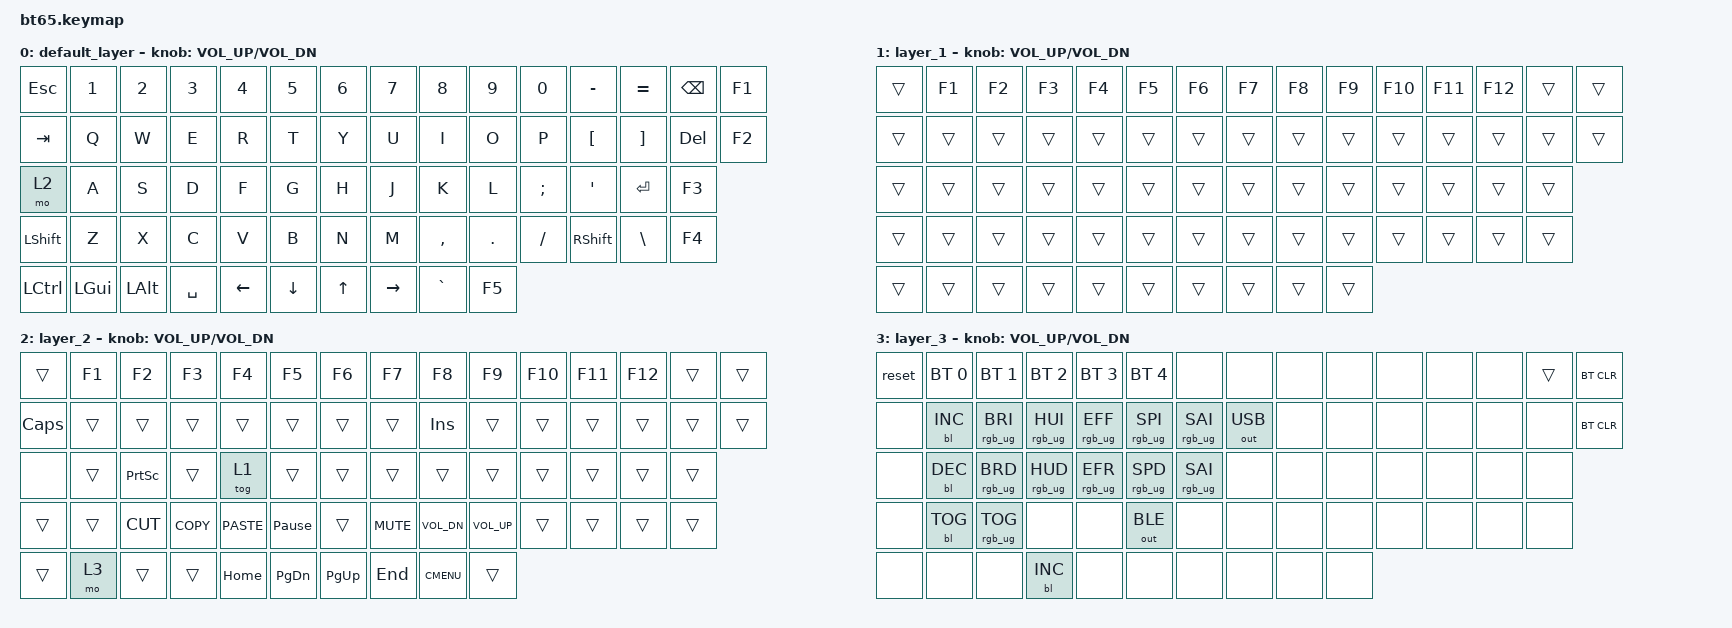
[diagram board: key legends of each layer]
#include <behaviors.dtsi>
#include <dt-bindings/zmk/keys.h>
#include <dt-bindings/zmk/bt.h>
#include <dt-bindings/zmk/rgb.h>
#include <dt-bindings/zmk/backlight.h>
#include <dt-bindings/zmk/ext_power.h>
#include <dt-bindings/zmk/outputs.h>

/ {
	// Press FN+WIN+6+6+6 to enter bootloader mode
    combos {
        compatible = "zmk,combos";
        combo_bootloader {
            timeout-ms = <200>;
			layers = <3>;
            key-positions = <6 6 6>;
            bindings = <&bootloader>;
        };
    };
	keymap {
		compatible = "zmk,keymap";

		default_layer {
				// ------------------------------------------------------------------------------------------------------------
				// | 	ESC |  1  |  2  |  3  |  4  |  5  |  6  |  7  |  8  |  9  |  0  |  -  |  =  |BKSP | F1 		|
				// | TAB  |  Q  |  W  |  E  |  R  |  T  |  Y  |  U  |  I  |  O  |  P  |  [  |  ]  |   DEL    | F2		|
				// | CAPS  |  A  |  S  |  D  |  F  |  G  |  H  |  J  |  K  |  L  |  ;  |  '  |     ENTER    | F3	|
				// |  SHIFT  |  Z  |  X  |  C  |  V  |  B  |  N  |  M  |  ,  |  .  | /   |   SHIFT  |  \   |  F4 |
				// |  CTL  |  WIN  |  ALT  |            SPACE               | LEFT | DOWN | UP   | RIGHT | GRAVE | F5	|
				// ------------------------------------------------------------------------------------------------------------
				// ------------------------------------------------------------------------------------------------------------
				// | 	0 |  1  |  2  |  3  |  4  |  5  |  6  |  7  |  8  |  9  |  10  | 11  | 12  |  13 | 14 		|
				// |  15  | 16  | 17  |  18 | 19  | 20  | 21  | 22  | 23  | 24  | 25  | 26  |  27  |  28    | 29		|
				// |  30   | 31  | 32  | 33  | 34  | 35  | 36  | 37  | 38  | 39  | 40  | 41  |    42        | 43	|
				// |   44    | 45  | 46  | 47  | 48  | 49  | 50 |  51 |  52  | 53  | 54  |   55     |  56  |  57 |
				// |   58  |  59   |  60  |             61                 |  62  |  63  |   64  |   65  |   66   | 67	|
				// ------------------------------------------------------------------------------------------------------------
			bindings = <
				&kp ESC &kp N1 &kp N2 &kp N3 &kp N4 &kp N5 &kp N6 &kp N7 &kp  N8   &kp  N9   &kp N0 &kp MINUS &kp EQUAL &kp BKSP &kp F1
				&kp TAB  &kp Q  &kp W  &kp E  &kp R  &kp T  &kp Y  &kp U  &kp  I    &kp  O  &kp  P   &kp LBKT &kp RBKT  	&kp DEL &kp F2
				&mo 2 &kp A  &kp S  &kp D  &kp F  &kp G  &kp H  &kp J  &kp  K    &kp  L  &kp SEMI &kp SQT           	&kp RET &kp F3
				&kp LSHFT &kp Z  &kp X  &kp C  &kp V  &kp B  &kp N  &kp M  &kp COMMA &kp DOT &kp FSLH   &kp RSHFT &kp BSLH  &kp F4
				&kp LCTRL &kp LGUI &kp LALT            &kp SPACE                          &kp LEFT &kp DOWN &kp UP &kp RIGHT &kp GRAVE &kp F5
			>;
			sensor-bindings = <&inc_dec_kp C_VOL_UP C_VOL_DN>;
		};

		// F-lock-layer (toggle via FN+F)
		layer_1 {
			bindings = <
				&trans &kp F1 &kp F2 &kp F3 &kp F4 &kp F5 &kp F6 &kp F7 &kp F8 &kp F9 &kp F10 &kp F11 &kp F12 &trans &trans
				&trans  &trans &trans &trans &trans &trans  &trans  &trans  &trans  &trans  &trans  &trans  &trans  &trans  &trans
				&trans  &trans           &trans &trans &trans &trans  &trans  &trans  &trans  &trans  &trans  &trans  &trans  &trans
				&trans  &trans           &trans &trans  &trans  &trans  &trans  &trans  &trans  &trans  &trans  &trans  &trans  &trans
				&trans  &trans      &trans      &trans   &trans  &trans  &trans  &trans  &trans  &trans
			>;
			sensor-bindings = <&inc_dec_kp C_VOL_UP C_VOL_DN>;
		};

		// Function layer (momentary FN)
		layer_2 {
			bindings = <
				&trans &kp F1 &kp F2 &kp F3 &kp F4 &kp F5 &kp F6 &kp F7 &kp F8 &kp F9 &kp F10 &kp F11 &kp F12 &trans &trans
				&kp CAPS &trans &trans &trans &trans &trans  &trans  &trans  &kp INS &trans  &trans  &trans  &trans  &trans  &trans
				&none  &trans  &kp PSCRN &trans &tog 1 &trans  &trans  &trans  &trans  &trans  &trans  &trans  &trans  &trans
				&trans    &trans &kp K_CUT &kp K_COPY  &kp K_PASTE  &kp PAUSE_BREAK  &trans  &kp C_MUTE &kp C_VOL_DN &kp C_VOL_UP &trans &trans &trans &trans
				&trans  &mo 3      &trans      &trans  &kp HOME &kp PG_DN &kp PG_UP &kp END &kp K_CMENU   &trans
			>;
			sensor-bindings = <&inc_dec_kp C_VOL_UP C_VOL_DN>;
		};

		// Bluetooth and lighting (momentary FN+WIN)
		layer_3 {
			bindings = <
				&reset &bt BT_SEL 0 &bt BT_SEL 1    &bt BT_SEL 2    &bt BT_SEL 3    &bt BT_SEL 4    &none            &none         &none &none &none &none &none &trans &bt BT_CLR
				&none  &bl BL_INC   &rgb_ug RGB_BRI &rgb_ug RGB_HUI &rgb_ug RGB_EFF &rgb_ug RGB_SPI &rgb_ug RGB_SAI  &out OUT_USB  &none &none &none &none &none &none  &bt BT_CLR
				&none  &bl BL_DEC   &rgb_ug RGB_BRD &rgb_ug RGB_HUD &rgb_ug RGB_EFR &rgb_ug RGB_SPD &rgb_ug RGB_SAI  &none         &none &none &none &none &none &none  
				&none  &bl BL_TOG   &rgb_ug RGB_TOG &none           &none           &out OUT_BLE    &none            &none         &none &none &none &none &none &none  
				&none  &none        &none           &bl BL_INC      &none           &none           &none            &none         &none &none
			>;
			sensor-bindings = <&inc_dec_kp C_VOL_UP C_VOL_DN>;
		};
	};
};
